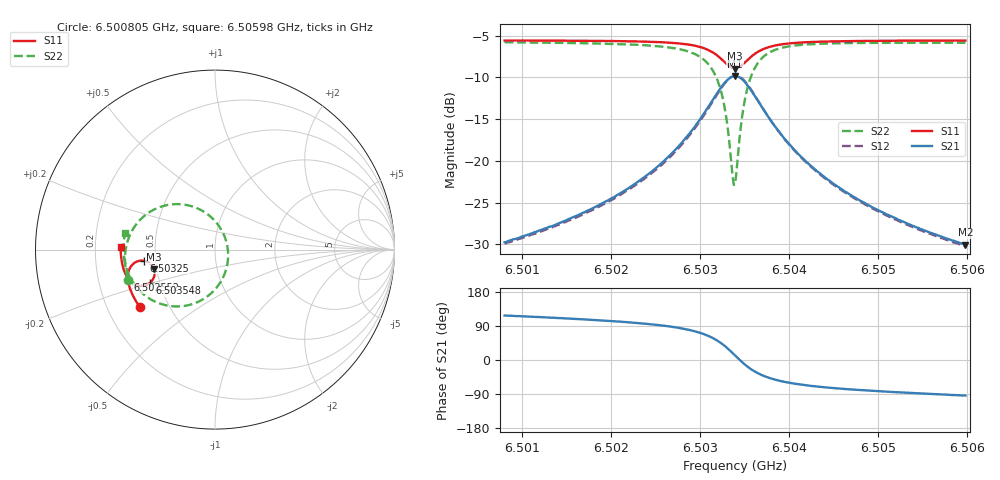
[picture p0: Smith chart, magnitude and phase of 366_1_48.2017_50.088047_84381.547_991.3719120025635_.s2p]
#  HZ  S  RI  R  50.00
! Rohde & Schwarz Vector Network Analyzer
! Rohde-Schwarz,ZNB20-2Port,1311601062101988,3.16
! Created: UTC 3/20/2024, 11:52:30 AM
! freq[Hz]  re:S11  im:S11  re:S21  im:S21  re:S12  im:S12  re:S22  im:S22
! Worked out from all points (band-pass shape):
!   401 points, 6.500805 GHz to 6.50598 GHz, reference 50 ohm
!   highest |S21| = -9.85 dB at 6.503393 GHz (marker M1); lowest = -30.0 dB at 6.50598 GHz (marker M2)
!   |S21| within 3 dB of the highest: 6.503134 GHz to 6.503652 GHz (517.9 kHz wide, 0.00796 % of centre)
!   lowest |S11| = -8.9 dB at 6.503393 GHz (marker M3), VSWR 2.11, Z = 24.1 - j6.07 ohm
!   |S11| at or under -10 dB: nowhere
!   |S22| runs from -22.9 to -5.8 dB; largest |S21 - S12| = 0.011
!   S11 on the Smith chart (normalised r, x): 6.500805 GHz: 0.34, -0.30; 6.502552 GHz: 0.33, -0.15; 6.50325 GHz: 0.43, -0.06; 6.503548 GHz: 0.44, -0.20; 6.50598 GHz: 0.31, +0.01
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6.5008053e9  -0.4196 -0.3177  -0.015 0.0289  -0.0134 0.0291  -0.4854 -0.1673
6.501672e9  -0.4579 -0.2552  -0.0144 0.0463  -0.0122 0.0458  -0.501 -0.0773
6.5022024e9  -0.4769 -0.2085  -0.0112 0.068  -0.00823 0.0669  -0.4983 -0.00288
6.5025387e9  -0.4849 -0.1717  -0.00328 0.0939  0.000369 0.0916  -0.4815 0.0635
6.5025517e9  -0.4851 -0.1702  -0.00275 0.0951  0.000793 0.093  -0.4804 0.0665
6.5027974e9  -0.4848 -0.135  0.0152 0.1279  0.0189 0.1241  -0.4427 0.1357
6.5029786e9  -0.4737 -0.1019  0.0491 0.1637  0.0524 0.1584  -0.3758 0.2014
6.5031467e9  -0.4397 -0.0688  0.1253 0.1967  0.1266 0.1905  -0.2358 0.2523
6.5032502e9  -0.3977 -0.0617  0.2094 0.1887  0.2096 0.1833  -0.0898 0.2262
6.503302e9  -0.3726 -0.0699  0.257 0.1616  0.2577 0.157  -0.0104 0.1703
6.5033666e9  -0.3463 -0.0956  0.3044 0.0996  0.3068 0.0947  0.0609 0.0511
6.5033925e9  -0.3398 -0.1097  0.3146 0.068  0.3176 0.0622  0.0722 -0.00762
6.5034054e9  -0.3379 -0.1173  0.3175 0.0515  0.3206 0.0454  0.0732 -0.0376
6.5034831e9  -0.3435 -0.1614  0.3016 -0.0415  0.3035 -0.0512  0.018 -0.2004
6.5035477e9  -0.3641 -0.1868  0.2599 -0.095  0.2588 -0.106  -0.0762 -0.2821
6.5036512e9  -0.4028 -0.2018  0.1868 -0.131  0.1817 -0.1402  -0.2229 -0.3166
6.5038194e9  -0.4483 -0.1922  0.1069 -0.1286  0.0999 -0.1334  -0.3676 -0.2715
6.5040005e9  -0.4755 -0.1709  0.0631 -0.1092  0.0569 -0.1114  -0.4386 -0.2079
6.5042592e9  -0.496 -0.1409  0.0336 -0.0856  0.0288 -0.0861  -0.4814 -0.1368
6.5046344e9  -0.5112 -0.1023  0.015 -0.0635  0.0119 -0.0632  -0.5032 -0.0645
6.5051259e9  -0.521 -0.0572  0.00507 -0.0469  0.00277 -0.0461  -0.5097 0.00327
6.5059797e9  -0.5257 0.0145  -0.00208 -0.0314  -0.00337 -0.0307  -0.5015 0.092
